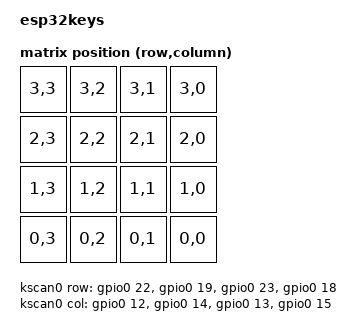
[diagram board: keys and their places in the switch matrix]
/*
 * Copyright (c) 2019 Intel Corporation.
 *
 * SPDX-License-Identifier: Apache-2.0
 */
/dts-v1/;

#include <espressif/esp32.dtsi>
#include "esp32keys-pinctrl.dtsi"
#include <dt-bindings/zmk/matrix_transform.h>

/ {
	model = "esp32keys";
	compatible = "espressif,esp32";

	aliases {
		uart-0 = &uart0;
		watchdog0 = &wdt0;
	};

	chosen {
		zephyr,sram = &sram0;
		zephyr,console = &uart0;
		zephyr,shell-uart = &uart0;
		zephyr,flash = &flash0;
		zmk,kscan = &kscan0;
		zmk,matrix_transform = &default_transform;
	};

	default_transform: keymap_transform_0 {
        compatible = "zmk,matrix-transform";
        columns = <4>;
        rows = <4>;
        map = <
            RC(3,3) RC(3,2) RC(3,1) RC(3,0)
			RC(2,3) RC(2,2) RC(2,1) RC(2,0)
			RC(1,3) RC(1,2) RC(1,1) RC(1,0)
			RC(0,3) RC(0,2) RC(0,1) RC(0,0)
        >;
    };

	kscan0: kscan {
        compatible = "zmk,kscan-gpio-matrix";
        label = "KSCAN";
                diode-direction = "col2row";
        row-gpios =
            <&gpio0 22 (GPIO_ACTIVE_HIGH | GPIO_PULL_DOWN)>,
			<&gpio0 19 (GPIO_ACTIVE_HIGH | GPIO_PULL_DOWN)>,
			<&gpio0 23 (GPIO_ACTIVE_HIGH | GPIO_PULL_DOWN)>,
			<&gpio0 18 (GPIO_ACTIVE_HIGH | GPIO_PULL_DOWN)>;
        col-gpios = 
			<&gpio0 12  GPIO_ACTIVE_HIGH>,
			<&gpio0 14  GPIO_ACTIVE_HIGH>,
			<&gpio0 13  GPIO_ACTIVE_HIGH>,
			<&gpio0 15  GPIO_ACTIVE_HIGH>;
    };
};

&cpu0 {
	clock-frequency = <ESP32_CLK_CPU_240M>;
};

&cpu1 {
	clock-frequency = <ESP32_CLK_CPU_240M>;
};

&uart0 {
	status = "okay";
	current-speed = <115200>;
	pinctrl-0 = <&uart0_default>;
	pinctrl-names = "default";
};

&gpio0 {
	status = "okay";
};

&gpio1 {
	status = "okay";
};

&trng0 {
	status = "okay";
};

&flash0 {
	status = "okay";
	partitions {
		compatible = "fixed-partitions";
		#address-cells = <1>;
		#size-cells = <1>;

		/* Reserve 60kB for the bootloader */
		boot_partition: partition@1000 {
			label = "mcuboot";
			reg = <0x00001000 0x0000F000>;
			read-only;
		};

		/* Reserve 1024kB for the application in slot 0 */
		slot0_partition: partition@10000 {
			label = "image-0";
			reg = <0x00010000 0x00100000>;
		};

		/* Reserve 1024kB for the application in slot 1 */
		slot1_partition: partition@110000 {
			label = "image-1";
			reg = <0x00110000 0x00100000>;
		};

		/* Reserve 256kB for the scratch partition */
		scratch_partition: partition@210000 {
			   label = "image-scratch";
			   reg = <0x00210000 0x00040000>;
		};

		storage_partition: partition@250000 {
			label = "storage";
			reg = <0x00250000 0x00006000>;
		};
	};
};
